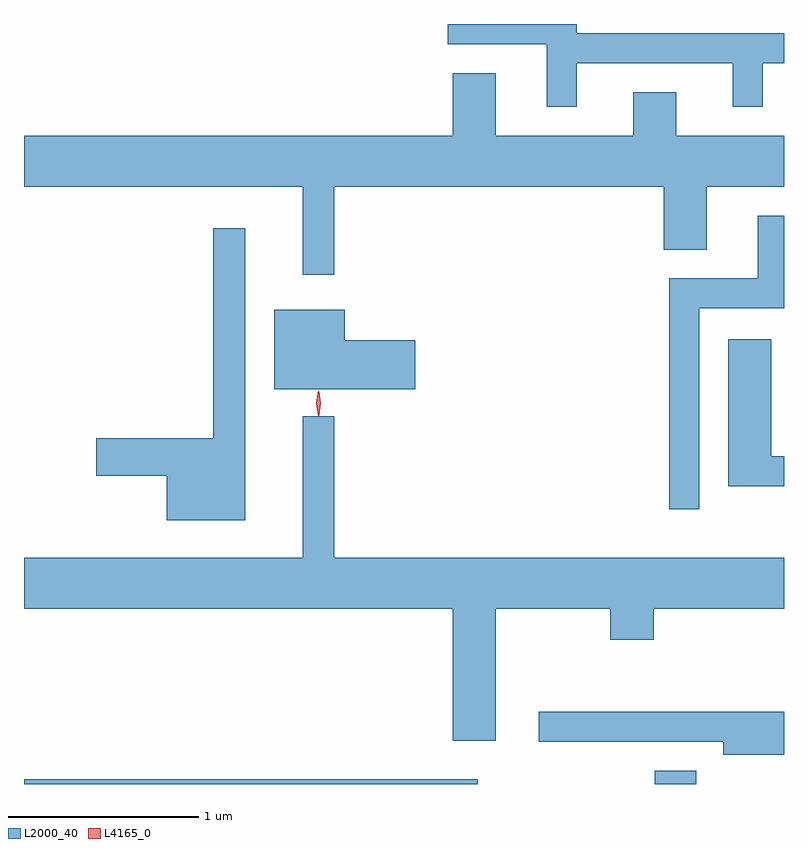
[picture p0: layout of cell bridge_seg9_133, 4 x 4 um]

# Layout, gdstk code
import gdstk
lib = gdstk.Library(unit=1e-6, precision=1e-09)
def R(c, l, rs):  # rectangles x0, y0, x1, y1
    for r in rs: c.add(gdstk.rectangle(r[:2], r[2:], *l))
def P(c, l, *ps):  # polygons
    for p in ps: c.add(gdstk.Polygon(p, *l))
L2000_40 = (2000, 40)
L4165_0 = (4165, 0)

bridge_seg9_133 = lib.new_cell('bridge_seg9_133')
R(bridge_seg9_133, L2000_40, [(1299.385,2068.593,1301.774,2068.619), (1302.706,2068.593,1302.924,2068.664)])
P(bridge_seg9_133, L2000_40, [(1302.294,2072.386),(1303.116,2072.386),(1303.116,2072.158),(1303.274,2072.158),(1303.274,2072.386),(1303.385,2072.386),(1303.385,2072.544),(1302.294,2072.544),(1302.294,2072.593),(1301.616,2072.593),(1301.616,2072.486),(1302.136,2072.486),(1302.136,2072.158),(1302.294,2072.158)],
  [(1301.019,2071.736),(1302.751,2071.736),(1302.751,2071.406),(1302.979,2071.406),(1302.979,2071.736),(1303.385,2071.736),(1303.385,2072.004),(1302.819,2072.004),(1302.819,2072.234),(1302.591,2072.234),(1302.591,2072.004),(1301.869,2072.004),(1301.869,2072.334),(1301.641,2072.334),(1301.641,2072.004),(1299.385,2072.004),(1299.385,2071.736),(1300.851,2071.736),(1300.851,2071.273),(1301.019,2071.273)],
  [(1302.939,2071.096),(1303.385,2071.096),(1303.385,2071.583),(1303.246,2071.583),(1303.246,2071.254),(1302.781,2071.254),(1302.781,2070.038),(1302.939,2070.038)],
  [(1300.549,2071.518),(1300.381,2071.518),(1300.381,2070.414),(1299.766,2070.414),(1299.766,2070.216),(1300.136,2070.216),(1300.136,2069.981),(1300.549,2069.981)],
  [(1301.444,2070.929),(1301.074,2070.929),(1301.074,2071.089),(1300.701,2071.089),(1300.701,2070.671),(1301.444,2070.671)],
  [(1303.385,2070.319),(1303.319,2070.319),(1303.319,2070.934),(1303.091,2070.934),(1303.091,2070.161),(1303.385,2070.161)],
  [(1301.869,2069.516),(1302.471,2069.516),(1302.471,2069.351),(1302.699,2069.351),(1302.699,2069.516),(1303.385,2069.516),(1303.385,2069.784),(1301.019,2069.784),(1301.019,2070.528),(1300.851,2070.528),(1300.851,2069.784),(1299.385,2069.784),(1299.385,2069.516),(1301.641,2069.516),(1301.641,2068.821),(1301.869,2068.821)],
  [(1303.385,2068.974),(1302.093,2068.974),(1302.093,2068.816),(1303.066,2068.816),(1303.066,2068.746),(1303.385,2068.746)])
P(bridge_seg9_133, L4165_0, [(1300.934,2070.53),(1300.924,2070.598),(1300.933,2070.666),(1300.934,2070.666),(1300.934,2070.666),(1300.944,2070.598),(1300.936,2070.53),(1300.935,2070.53)],
  [(1300.938,2070.533),(1300.938,2070.533),(1300.928,2070.596),(1300.938,2070.66),(1300.938,2070.66),(1300.939,2070.66),(1300.948,2070.596),(1300.939,2070.533)])

lib.write_gds('bridge_seg9_133.gds')
